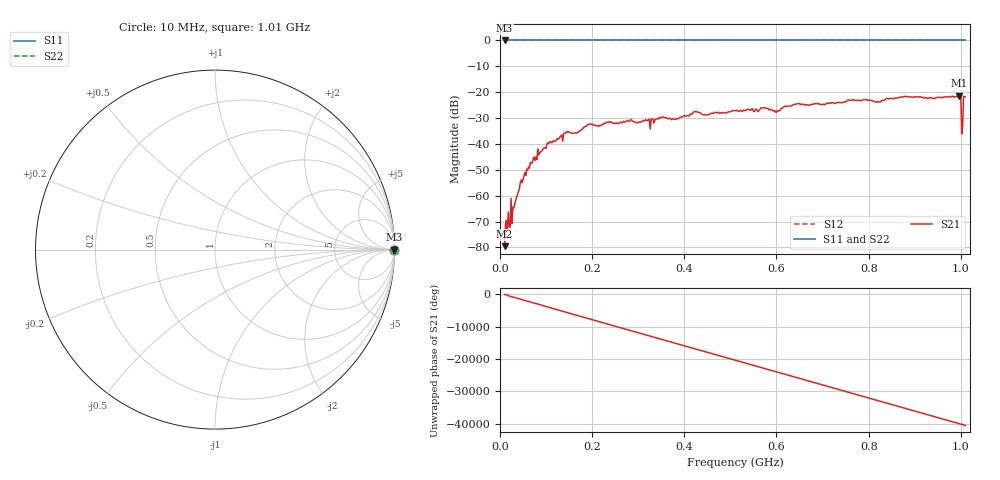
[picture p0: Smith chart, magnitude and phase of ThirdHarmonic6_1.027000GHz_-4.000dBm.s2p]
! 8/16/2025 8:42:13 AM
! C:\ANRITSUVNA\TEMP\TEMP.S2P
! CHANNEL.1
! TR.MEASUREMENT
! RAW.DATA
! RF.CORRECTION.OFF
! AVERAGING.OFF
! IF.BANDWIDTH: 5KHZ
! SWEEPTYPE:  FREQ.SWEEP(Linear)
! Reference Plane Port Info
! PORT:  PORT1  PORT2
! DISTANCE:  0  m  0  m
! TIME:  0  s  0  s
! PHASE.OFFSET:  0  deg.  0  deg.
! LOSS:  0  dB  0  dB
! REF.LOSS:  0  dB  0  dB
! REF.FREQ:  0  Hz  0  Hz
! Power Info
! POWER:  -20  dBm  -20  dBm
! EFF.POWER:  -20  dBm  -20  dBm
! SOURCE.ATTEN:  0  dB  0  dB
! TEST.ATTEN:  0  dB  0  dB
# GHZ S RI R 50.0
! FREQ.GHZ  S11RE  S11IM  S21RE  S21IM  S12RE  S12IM  S22RE  S22IM
!; PortSelection: Port_12
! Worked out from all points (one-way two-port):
!   501 points, 10 MHz to 1.01 GHz, reference 50 ohm
!   highest |S21| = -21.32 dB at 996 MHz (marker M1); lowest = -79.5 dB at 10 MHz (marker M2)
!   lowest |S11| = 0.0 dB at 10 MHz (marker M3)
!   |S11| at or under -10 dB: nowhere
!   |S22| runs from 0.0 to 0.0 dB; largest |S21 - S12| = 1.1
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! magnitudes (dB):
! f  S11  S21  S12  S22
! 10 MHz  0.0  -79.5  0.0  0.0
! 16 MHz  0.0  -73.0  0.0  0.0
! 30 MHz  0.0  -64.7  0.0  0.0
! 42 MHz  0.0  -57.5  0.0  0.0
! 70 MHz  0.0  -47.4  0.0  0.0
! 106 MHz  0.0  -39.8  0.0  0.0
! 142 MHz  0.0  -35.8  0.0  0.0
! 178 MHz  0.0  -34.3  0.0  0.0
! 196 MHz  0.0  -32.3  0.0  0.0
! 330 MHz  0.0  -30.3  0.0  0.0
! 344 MHz  0.0  -30.3  0.0  0.0
! 424 MHz  0.0  -27.5  0.0  0.0
! 510 MHz  0.0  -27.2  0.0  0.0
! 572 MHz  0.0  -26.1  0.0  0.0
! 602 MHz  0.0  -27.1  0.0  0.0
! 640 MHz  0.0  -24.7  0.0  0.0
! 678 MHz  0.0  -24.7  0.0  0.0
! 844 MHz  0.0  -22.6  0.0  0.0
! 996 MHz  0.0  -21.3  0.0  0.0
! 1 GHz  0.0  -21.4  0.0  0.0
! 1.006 GHz  0.0  -21.6  0.0  0.0
! 1.01 GHz  0.0  -21.8  0.0  0.0
